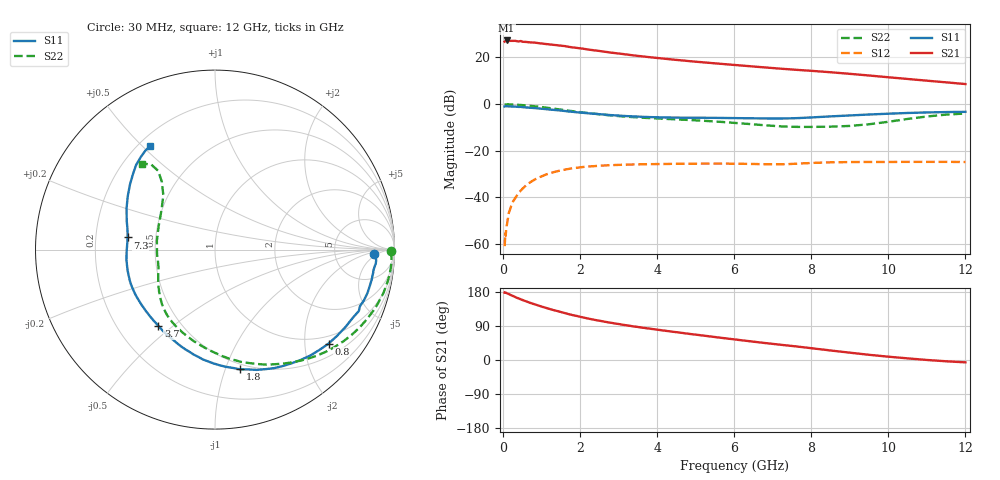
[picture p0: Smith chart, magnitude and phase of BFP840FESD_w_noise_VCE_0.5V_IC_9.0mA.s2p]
! Infineon Technologies  Discrete & RF Semiconductors
! BFP840FESD
! VCE =  0.5 V,  IC =  9.0 mA
! Common Emitter S-Parameters:  May 2012
# GHz  S  MA  R  50
!  f  S11  S21  S12  S22
! GHz  MAG  ANG  MAG  ANG  MAG  ANG  MAG  ANG
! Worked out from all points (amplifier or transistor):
!   103 points, 30 MHz to 12 GHz, reference 50 ohm
!   highest |S21| = 27.3 dB at 80 MHz (marker M1)
!   |S21| within 3 dB of that: start of sweep to 1.812 GHz
!   unconditionally stable (mu >= 1): 6.547 GHz to end of sweep
!   at 400 MHz: K = 0.07, MSG = 32.4 dB, |S12| = -38.0 dB
!   at 3.7 GHz: K = 0.52, MSG = 23.0 dB, |S12| = -25.8 dB
!   at 12 GHz: K = 1.29, MAG = 13.5 dB, |S12| = -24.8 dB
!   lowest NFmin = 0.64 dB at 450 MHz
!   S11 on the Smith chart (normalised r, x): 30 MHz: 16, -4; 800 MHz: 0.80, -2.56; 1.8 GHz: 0.45, -1.13; 3.7 GHz: 0.38, -0.44; 7.3 GHz: 0.34, +0.06; 12 GHz: 0.24, +0.53
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0.03  0.8881 -1.7  21.81 177.7  0.0009 93.4  0.9782 -0.6
0.05  0.8946 -2.9  22.55 178.2  0.0017 59.3  0.9839 -1.6
0.08  0.8996 -4.3  23.07 176.7  0.0024 84.5  0.9843 -2.9
0.13  0.8907 -7.2  22.44 174.3  0.0042 86.4  0.985 -5.2
0.3  0.8831 -16.0  22.66 166.5  0.0095 80.4  0.9732 -12.4
0.4  0.8669 -21.4  21.98 162.3  0.0126 77.1  0.9609 -16.5
0.45  0.8714 -23.1  22.44 160.2  0.014 75.6  0.9558 -18.4
0.5  0.8567 -26.3  21.64 158.1  0.0155 74.3  0.9482 -20.5
0.8  0.8215 -39.6  20.78 147.3  0.0238 66.2  0.8979 -31.9
1.3  0.7506 -59.8  18.59 131.7  0.0347 53.7  0.7989 -49.5
1.6  0.7093 -70.9  17.46 123.7  0.0394 47.3  0.7389 -59.3
1.8  0.6816 -78.2  16.38 118.4  0.0421 43.4  0.7038 -65.6
2.1  0.6454 -87.6  15.2 111.6  0.0451 38.4  0.655 -74.3
2.8  0.5793 -106.7  12.65 98.1  0.049 29.5  0.5694 -91.3
3.7  0.5292 -126.6  10.31 84.1  0.0513 22.3  0.5052 -108.2
4.1  0.5187 -134.5  9.526 78.6  0.0519 20.1  0.4864 -114.6
5  0.509 -150.9  8.081 66.8  0.0528 16.2  0.4477 -127.4
6.1  0.499 -168.3  6.784 53.1  0.0526 12.7  0.3896 -143.1
7.3  0.4918 172.1  5.65 39.1  0.0515 13.8  0.3299 -162.8
8.5  0.5442 154.9  4.803 25.1  0.0564 13.0  0.3277 171.2
10.5  0.6441 133.1  3.45 4.3  0.0577 9.7  0.48 128.1
12  0.681 122.2  2.684 -6.2  0.0573 10.5  0.6268 130.3
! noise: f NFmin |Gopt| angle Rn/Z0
0.45  0.64  0.36  5  0.14
0.9  0.66  0.34  12  0.15
1.5  0.68  0.31  17  0.14
1.9  0.68  0.28  27  0.15
2.4  0.7  0.26  35  0.15
3.5  0.71  0.25  56  0.14
5.5  0.77  0.17  99  0.12
8  0.89  0.15  161  0.12
10  1.03  0.24  -139  0.12
12  1.25  0.4  -117  0.14
